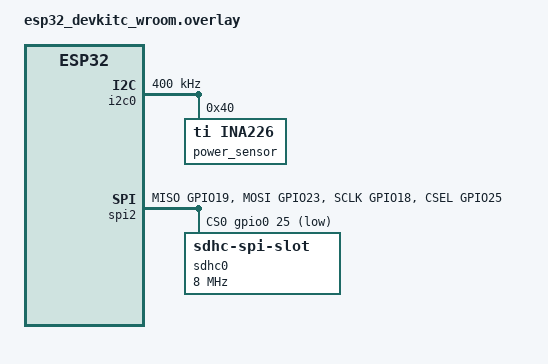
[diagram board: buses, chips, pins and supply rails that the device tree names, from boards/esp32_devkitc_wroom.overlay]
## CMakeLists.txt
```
cmake_minimum_required(VERSION 3.20.0)

execute_process(
    COMMAND python ${CMAKE_CURRENT_LIST_DIR}/../scripts/generate_zephyr_overlay.py
            --config ${CMAKE_CURRENT_LIST_DIR}/../hardware_config.json
            --expert power
            --out ${CMAKE_CURRENT_LIST_DIR}/boards/generated.overlay
    RESULT_VARIABLE OVERLAY_GEN_RESULT
)
if(NOT OVERLAY_GEN_RESULT EQUAL 0)
    message(FATAL_ERROR "Failed to generate power_expert_logger devicetree overlay")
endif()

set(DTC_OVERLAY_FILE boards/generated.overlay)

find_package(Zephyr REQUIRED HINTS $ENV{ZEPHYR_BASE})

project(power_expert_logger)

target_sources(app PRIVATE src/main.c)
```

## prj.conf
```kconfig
# Zephyr config for power_expert_logger

CONFIG_SERIAL=y
CONFIG_CONSOLE=y
CONFIG_UART_CONSOLE=y
CONFIG_SHELL=y
CONFIG_SHELL_BACKEND_SERIAL=y
CONFIG_LOG=y
CONFIG_PRINTK=y

CONFIG_GPIO=y
CONFIG_I2C=y
CONFIG_SPI=y
CONFIG_ADC=y
CONFIG_SENSOR=y

CONFIG_DISK_ACCESS=y
CONFIG_DISK_DRIVER_SDMMC=y
CONFIG_FILE_SYSTEM=y
CONFIG_FAT_FILESYSTEM_ELM=y
CONFIG_FS_FATFS_LFN=y
CONFIG_SDHC=y
CONFIG_SDMMC_STACK=y

CONFIG_MAIN_STACK_SIZE=4096
CONFIG_HEAP_MEM_POOL_SIZE=8192

CONFIG_NEWLIB_LIBC=y
CONFIG_MINIMAL_LIBC=n

CONFIG_INA226=y
```

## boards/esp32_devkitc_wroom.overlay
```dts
/* ESP32 DevKitC WROOM overlay for Power Expert Logger */
/* INA226: VCC->3V3, GND->GND, SDA->GPIO21, SCL->GPIO22 */
/* INA226 path: Battery+ -> IN+, IN- -> MotorDriver VIN+ */
/* SD: SCK GPIO18, MISO GPIO19, MOSI GPIO23, CS GPIO25 */

#include <zephyr/dt-bindings/pinctrl/esp32-pinctrl.h>

&pinctrl {
    porter_i2c0_default: porter_i2c0_default {
        group1 {
            pinmux = <I2C0_SDA_GPIO21>,
                     <I2C0_SCL_GPIO22>;
            bias-pull-up;
            drive-open-drain;
            output-high;
        };
    };

    porter_spim2_default: porter_spim2_default {
        group1 {
            pinmux = <SPIM2_MISO_GPIO19>,
                     <SPIM2_MOSI_GPIO23>,
                     <SPIM2_SCLK_GPIO18>,
                     <SPIM2_CSEL_GPIO25>;
        };
    };
};

&i2c0 {
    status = "okay";
    clock-frequency = <I2C_BITRATE_FAST>;
    pinctrl-0 = <&porter_i2c0_default>;
    pinctrl-names = "default";

    power_sensor: ina226@40 {
        compatible = "ti,ina226";
        reg = <0x40>;
        shunt-resistor-micro-ohms = <100000>;
    };
};

&spi2 {
    status = "okay";
    cs-gpios = <&gpio0 25 GPIO_ACTIVE_LOW>;
    pinctrl-0 = <&porter_spim2_default>;
    pinctrl-names = "default";

    sdhc0: sdhc@0 {
        compatible = "zephyr,sdhc-spi-slot";
        reg = <0>;
        status = "okay";
        spi-max-frequency = <8000000>;

        mmc {
            compatible = "zephyr,sdmmc-disk";
            disk-name = "SD";
            status = "okay";
        };
    };
};

/ {
    aliases {
        power-sensor = &power_sensor;
    };
};
```

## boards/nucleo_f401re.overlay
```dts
/* STM32 Nucleo F401RE overlay placeholder. */
/* Fill I2C, SPI and SD card nodes after STM32 pin selection. */

/ {
    aliases {
        /* power-sensor = &ina226; */
    };
};
```

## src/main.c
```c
#include <zephyr/device.h>
#include <zephyr/drivers/sensor.h>
#include <zephyr/fs/fs.h>
#include <zephyr/kernel.h>
#include <zephyr/logging/log.h>
#include <zephyr/shell/shell.h>
#include <zephyr/sys/printk.h>
#include <ff.h>
#include <errno.h>
#include <inttypes.h>
#include <stdio.h>
#include <stdlib.h>
#include <string.h>

LOG_MODULE_REGISTER(power_expert_logger, LOG_LEVEL_INF);

#define EXPERT_NAME "power_expert"
#define FAULT_SUBSYSTEM "power"
#define ROBOT_ID "porter_dev"
#define LOG_PERIOD_MS 100
#define MAX_LABEL_LEN 32
#define MAX_RUN_ID_LEN 48
#define MAX_PATH_LEN 160

#if !DT_NODE_HAS_STATUS(DT_ALIAS(power_sensor), okay)
#error "Devicetree alias 'power-sensor' must point to an enabled INA226 node"
#endif

static const struct device *const power_sensor = DEVICE_DT_GET(DT_ALIAS(power_sensor));

static FATFS fat_fs;
static struct fs_mount_t sd_mount = {
	.type = FS_FATFS,
	.fs_data = &fat_fs,
	.mnt_point = "/SD:",
};

struct logger_state {
	struct k_mutex lock;
	bool sd_ready;
	bool run_active;
	bool fault_active;
	int severity;
	int64_t run_start_ms;
	char run_id[MAX_RUN_ID_LEN];
	char fault_label[MAX_LABEL_LEN];
	char raw_path[MAX_PATH_LEN];
	char events_path[MAX_PATH_LEN];
	struct fs_file_t raw_file;
	struct fs_file_t events_file;
};

static struct logger_state state;

static double sensor_value_to_d(const struct sensor_value *value)
{
	return (double)value->val1 + ((double)value->val2 / 1000000.0);
}

static void make_safe_token(char *dst, size_t dst_len, const char *src)
{
	size_t out = 0;

	for (size_t i = 0; src[i] != '\0' && out + 1 < dst_len; i++) {
		const char c = src[i];

		if ((c >= 'a' && c <= 'z') || (c >= 'A' && c <= 'Z') ||
		    (c >= '0' && c <= '9') || c == '_' || c == '-') {
			dst[out++] = c;
		} else {
			dst[out++] = '_';
		}
	}

	dst[out] = '\0';
}

static int ensure_dir(const char *path)
{
	int ret = fs_mkdir(path);

	if (ret == 0 || ret == -EEXIST) {
		return 0;
	}

	LOG_ERR("fs_mkdir(%s) failed: %d", path, ret);
	return ret;
}

static int ensure_dataset_dirs(void)
{
	int ret;

	ret = ensure_dir("/SD:/datasets");
	if (ret != 0) {
		return ret;
	}
	ret = ensure_dir("/SD:/datasets/power_expert");
	if (ret != 0) {
		return ret;
	}
	ret = ensure_dir("/SD:/datasets/power_expert/raw");
	if (ret != 0) {
		return ret;
	}
	ret = ensure_dir("/SD:/datasets/power_expert/events");
	if (ret != 0) {
		return ret;
	}
	ret = ensure_dir("/SD:/datasets/power_expert/metadata");
	if (ret != 0) {
		return ret;
	}

	return ensure_dir("/SD:/datasets/power_expert/features");
}

static int write_text(struct fs_file_t *file, const char *text)
{
	const size_t len = strlen(text);
	ssize_t written = fs_write(file, text, len);

	return written == len ? 0 : (written < 0 ? (int)written : -EIO);
}

static int write_event_locked(const char *event_name)
{
	char line[128];
	int64_t now = k_uptime_get();
	double elapsed_s = 0.0;

	if (state.run_start_ms > 0) {
		elapsed_s = (double)(now - state.run_start_ms) / 1000.0;
	}

	snprintf(line, sizeof(line), "%" PRId64 ",%.3f,%s,%d,%s,%d\n",
		 now, elapsed_s, event_name, state.fault_active ? 1 : 0,
		 state.fault_label, state.severity);

	return write_text(&state.events_file, line);
}

static int write_metadata_file(const char *run_id, const char *fault_label, int severity)
{
	struct fs_file_t metadata_file;
	char metadata_path[MAX_PATH_LEN];
	char body[512];
	int ret;

	snprintf(metadata_path, sizeof(metadata_path),
		 "/SD:/datasets/power_expert/metadata/%s.txt", run_id);

	fs_file_t_init(&metadata_file);
	ret = fs_open(&metadata_file, metadata_path, FS_O_CREATE | FS_O_WRITE | FS_O_TRUNC);
	if (ret != 0) {
		return ret;
	}

	snprintf(body, sizeof(body),
		 "run_id=%s\n"
		 "robot_id=%s\n"
		 "expert_name=%s\n"
		 "fault_label=%s\n"
		 "fault_subsystem=%s\n"
		 "severity=%d\n"
		 "sample_period_ms=%d\n",
		 run_id, ROBOT_ID, EXPERT_NAME, fault_label, FAULT_SUBSYSTEM,
		 severity, LOG_PERIOD_MS);

	ret = write_text(&metadata_file, body);
	fs_close(&metadata_file);
	return ret;
}

static int mount_sd_card(void)
{
	int ret = fs_mount(&sd_mount);

	if (ret != 0) {
		LOG_ERR("SD mount failed at %s: %d", sd_mount.mnt_point, ret);
		return ret;
	}

	ret = ensure_dataset_dirs();
	if (ret != 0) {
		return ret;
	}

	state.sd_ready = true;
	LOG_INF("SD card mounted at %s", sd_mount.mnt_point);
	return 0;
}

static int read_power_sample(double *voltage_v, double *current_a, double *power_w)
{
	struct sensor_value voltage;
	struct sensor_value current;
	struct sensor_value power;
	int ret;

	ret = sensor_sample_fetch(power_sensor);
	if (ret != 0) {
		return ret;
	}

	ret = sensor_channel_get(power_sensor, SENSOR_CHAN_VOLTAGE, &voltage);
	if (ret != 0) {
		return ret;
	}

	ret = sensor_channel_get(power_sensor, SENSOR_CHAN_CURRENT, &current);
	if (ret != 0) {
		return ret;
	}

	ret = sensor_channel_get(power_sensor, SENSOR_CHAN_POWER, &power);
	if (ret == 0) {
		*power_w = sensor_value_to_d(&power);
	} else {
		*power_w = sensor_value_to_d(&voltage) * sensor_value_to_d(&current);
	}

	*voltage_v = sensor_value_to_d(&voltage);
	*current_a = sensor_value_to_d(&current);
	return 0;
}

static int cmd_start(const struct shell *shell, size_t argc, char **argv)
{
	char safe_run_id[MAX_RUN_ID_LEN];
	char safe_fault_label[MAX_LABEL_LEN];
	char header[] =
		"timestamp_ms,elapsed_s,run_id,robot_id,expert_name,fault_active,"
		"fault_label,fault_subsystem,severity,battery_voltage_v,"
		"battery_current_a,battery_power_w\n";
	char event_header[] = "timestamp_ms,elapsed_s,event,fault_active,fault_label,severity\n";
	int severity;
	int ret;

	if (argc != 4) {
		shell_error(shell, "usage: start <run_id> <fault_label> <severity>");
		return -EINVAL;
	}

	severity = atoi(argv[3]);
	if (severity < 0 || severity > 5) {
		shell_error(shell, "severity must be 0..5");
		return -EINVAL;
	}

	make_safe_token(safe_run_id, sizeof(safe_run_id), argv[1]);
	make_safe_token(safe_fault_label, sizeof(safe_fault_label), argv[2]);
	if (safe_run_id[0] == '\0' || safe_fault_label[0] == '\0') {
		shell_error(shell, "run_id and fault_label must not be empty");
		return -EINVAL;
	}

	k_mutex_lock(&state.lock, K_FOREVER);

	if (!state.sd_ready) {
		k_mutex_unlock(&state.lock);
		shell_error(shell, "SD card is not mounted");
		return -ENODEV;
	}

	if (state.run_active) {
		k_mutex_unlock(&state.lock);
		shell_error(shell, "run already active: %s", state.run_id);
		return -EBUSY;
	}

	strncpy(state.run_id, safe_run_id, sizeof(state.run_id) - 1);
	strncpy(state.fault_label, safe_fault_label, sizeof(state.fault_label) - 1);
	state.run_id[sizeof(state.run_id) - 1] = '\0';
	state.fault_label[sizeof(state.fault_label) - 1] = '\0';
	state.severity = severity;
	state.fault_active = false;
	state.run_start_ms = k_uptime_get();

	snprintf(state.raw_path, sizeof(state.raw_path),
		 "/SD:/datasets/power_expert/raw/%s.csv", state.run_id);
	snprintf(state.events_path, sizeof(state.events_path),
		 "/SD:/datasets/power_expert/events/%s_events.csv", state.run_id);

	fs_file_t_init(&state.raw_file);
	fs_file_t_init(&state.events_file);

	ret = fs_open(&state.raw_file, state.raw_path, FS_O_CREATE | FS_O_WRITE | FS_O_TRUNC);
	if (ret != 0) {
		k_mutex_unlock(&state.lock);
		shell_error(shell, "failed to open raw file: %d", ret);
		return ret;
	}

	ret = fs_open(&state.events_file, state.events_path, FS_O_CREATE | FS_O_WRITE | FS_O_TRUNC);
	if (ret != 0) {
		fs_close(&state.raw_file);
		k_mutex_unlock(&state.lock);
		shell_error(shell, "failed to open events file: %d", ret);
		return ret;
	}

	ret = write_text(&state.raw_file, header);
	if (ret == 0) {
		ret = write_text(&state.events_file, event_header);
	}
	if (ret == 0) {
		ret = write_event_locked("run_start");
	}
	if (ret == 0) {
		ret = write_metadata_file(state.run_id, state.fault_label, state.severity);
	}

	if (ret != 0) {
		fs_close(&state.events_file);
		fs_close(&state.raw_file);
		k_mutex_unlock(&state.lock);
		shell_error(shell, "failed to initialize run files: %d", ret);
		return ret;
	}

	state.run_active = true;
	k_mutex_unlock(&state.lock);

	shell_print(shell, "started %s", safe_run_id);
	return 0;
}

static int cmd_fault_on(const struct shell *shell, size_t argc, char **argv)
{
	int ret;

	ARG_UNUSED(argc);
	ARG_UNUSED(argv);

	k_mutex_lock(&state.lock, K_FOREVER);
	if (!state.run_active) {
		k_mutex_unlock(&state.lock);
		shell_error(shell, "no active run");
		return -EINVAL;
	}
	state.fault_active = true;
	ret = write_event_locked("fault_on");
	k_mutex_unlock(&state.lock);

	shell_print(shell, "fault_active=1");
	return ret;
}

static int cmd_fault_off(const struct shell *shell, size_t argc, char **argv)
{
	int ret;

	ARG_UNUSED(argc);
	ARG_UNUSED(argv);

	k_mutex_lock(&state.lock, K_FOREVER);
	if (!state.run_active) {
		k_mutex_unlock(&state.lock);
		shell_error(shell, "no active run");
		return -EINVAL;
	}
	state.fault_active = false;
	ret = write_event_locked("fault_off");
	k_mutex_unlock(&state.lock);

	shell_print(shell, "fault_active=0");
	return ret;
}

static int cmd_stop(const struct shell *shell, size_t argc, char **argv)
{
	ARG_UNUSED(argc);
	ARG_UNUSED(argv);

	k_mutex_lock(&state.lock, K_FOREVER);
	if (!state.run_active) {
		k_mutex_unlock(&state.lock);
		shell_error(shell, "no active run");
		return -EINVAL;
	}

	write_event_locked("run_stop");
	fs_close(&state.events_file);
	fs_close(&state.raw_file);
	state.run_active = false;
	state.fault_active = false;
	k_mutex_unlock(&state.lock);

	shell_print(shell, "stopped");
	return 0;
}

static int cmd_status(const struct shell *shell, size_t argc, char **argv)
{
	ARG_UNUSED(argc);
	ARG_UNUSED(argv);

	k_mutex_lock(&state.lock, K_FOREVER);
	shell_print(shell, "sd_ready=%d run_active=%d fault_active=%d run_id=%s label=%s severity=%d",
		    state.sd_ready ? 1 : 0, state.run_active ? 1 : 0,
		    state.fault_active ? 1 : 0,
		    state.run_active ? state.run_id : "-", state.fault_label, state.severity);
	k_mutex_unlock(&state.lock);
	return 0;
}

SHELL_CMD_REGISTER(start, NULL, "start <run_id> <fault_label> <severity>", cmd_start);
SHELL_CMD_REGISTER(fault_on, NULL, "mark fault active", cmd_fault_on);
SHELL_CMD_REGISTER(fault_off, NULL, "mark fault inactive", cmd_fault_off);
SHELL_CMD_REGISTER(stop, NULL, "stop current run", cmd_stop);
SHELL_CMD_REGISTER(status, NULL, "show logger status", cmd_status);

static void logger_thread(void)
{
	char line[256];
	double voltage_v;
	double current_a;
	double power_w;
	int ret;

	while (true) {
		k_sleep(K_MSEC(LOG_PERIOD_MS));

		k_mutex_lock(&state.lock, K_FOREVER);
		if (!state.run_active) {
			k_mutex_unlock(&state.lock);
			continue;
		}

		ret = read_power_sample(&voltage_v, &current_a, &power_w);
		if (ret != 0) {
			LOG_WRN("INA226 sample failed: %d", ret);
			k_mutex_unlock(&state.lock);
			continue;
		}

		int64_t now = k_uptime_get();
		double elapsed_s = (double)(now - state.run_start_ms) / 1000.0;

		snprintf(line, sizeof(line),
			 "%" PRId64 ",%.3f,%s,%s,%s,%d,%s,%s,%d,%.6f,%.6f,%.6f\n",
			 now, elapsed_s, state.run_id, ROBOT_ID, EXPERT_NAME,
			 state.fault_active ? 1 : 0, state.fault_label,
			 FAULT_SUBSYSTEM, state.severity, voltage_v, current_a, power_w);

		ret = write_text(&state.raw_file, line);
		if (ret != 0) {
			LOG_ERR("CSV write failed: %d", ret);
		}

		k_mutex_unlock(&state.lock);
	}
}

K_THREAD_DEFINE(logger_tid, 4096, logger_thread, NULL, NULL, NULL, 5, 0, 0);

int main(void)
{
	int ret;

	k_mutex_init(&state.lock);
	strncpy(state.fault_label, "healthy", sizeof(state.fault_label) - 1);

	printk("========================================\n");
	printk("Power Expert Logger\n");
	printk("========================================\n");
	printk("Commands: start <run_id> <fault_label> <severity>, fault_on, fault_off, stop, status\n");

	if (!device_is_ready(power_sensor)) {
		LOG_ERR("INA226 device is not ready");
		return 0;
	}

	ret = mount_sd_card();
	if (ret != 0) {
		LOG_ERR("Logger running without SD storage. Fix SD wiring/config and reboot.");
	}

	return 0;
}
```
